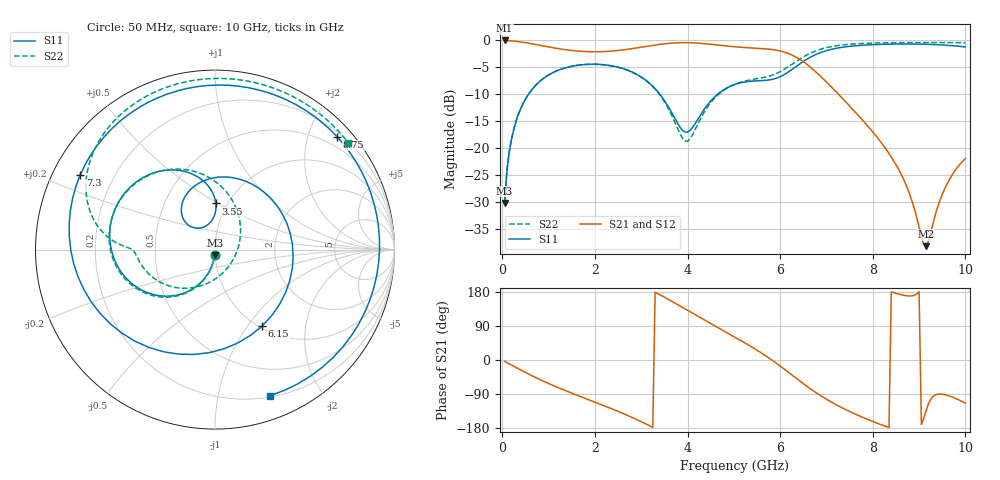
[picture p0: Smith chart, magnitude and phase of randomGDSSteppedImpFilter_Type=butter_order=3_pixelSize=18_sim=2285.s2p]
! freq	dB(S11)	phase(S11)	dB(S12)	phase(S12)
!  dB(S21)	phase(S21)	dB(S22)	phase(S22)
!S-par simulation data
#  GHz  S  DB  R 50
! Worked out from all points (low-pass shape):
!   200 points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, 50 MHz to 10 GHz, reference 50 ohm
!   highest |S21| = -0.01 dB at 50 MHz (marker M1); lowest = -38.2 dB at 9.15 GHz (marker M2)
!   |S21| within 3 dB of the highest: start of sweep to 6.322 GHz
!   lowest |S11| = -30.2 dB at 50 MHz (marker M3), VSWR 1.06, Z = 49.7 - j3.07 ohm
!   |S11| at or under -10 dB: start of sweep to 566.6 MHz; 3.403 GHz to 4.649 GHz (1.246 GHz wide, 30.9 % of centre)
!   |S22| runs from -30.2 to -0.4 dB; largest |S21 - S12| = 0
!   S11 on the Smith chart (normalised r, x): 50 MHz: 0.99, -0.06; 3.55 GHz: 0.88, +0.49; 6.15 GHz: 1.03, -1.17; 7.3 GHz: 0.08, +0.26; 8.75 GHz: 0.29, +2.53; 10 GHz: 0.21, -1.42
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0.05  -30.19 -93.6  -0.01 -3.4  -0.01 -3.4  -30.19 -93.5
0.2  -18.29 -104.1  -0.09 -13.5  -0.09 -13.5  -18.29 -103.8
0.5  -10.91 -123.8  -0.42 -32.8  -0.42 -32.8  -10.91 -123.0
1.05  -6.17 -155.9  -1.29 -64.6  -1.29 -64.6  -6.17 -154.3
1.75  -4.50 169.1  -2.05 -99.4  -2.05 -99.4  -4.50 171.4
2.7  -5.50 124.1  -1.66 -146.0  -1.66 -146.0  -5.52 124.0
3.4  -9.96 92.5  -0.74 172.5  -0.74 172.5  -10.13 75.3
3.55  -11.80 89.0  -0.58 162.5  -0.58 162.5  -12.12 59.9
4  -17.02 118.4  -0.42 131.0  -0.42 131.0  -18.71 -37.0
4.5  -11.26 132.8  -0.72 95.9  -0.72 95.9  -11.59 -125.2
5.05  -8.09 95.8  -1.21 58.2  -1.21 58.2  -8.05 -160.7
5.75  -7.36 12.0  -1.61 6.0  -1.61 6.0  -6.67 179.9
6.15  -6.02 -58.3  -2.34 -29.7  -2.34 -29.7  -5.02 175.5
6.4  -4.50 -101.3  -3.39 -53.2  -3.39 -53.2  -3.59 169.1
6.7  -2.91 -144.9  -5.31 -80.0  -5.31 -80.0  -2.19 157.3
7.3  -1.33 151.1  -10.37 -123.9  -10.37 -123.9  -0.89 131.2
7.8  -0.88 111.0  -15.01 -152.2  -15.01 -152.2  -0.55 111.8
8.35  -0.70 71.5  -20.99 -178.2  -20.99 -178.2  -0.42 92.4
8.75  -0.66 42.7  -27.51 169.2  -27.51 169.2  -0.39 79.0
9.15  -0.71 12.0  -38.22 -134.4  -38.22 -134.4  -0.38 66.0
9.6  -0.90 -27.5  -26.72 -92.8  -26.72 -92.8  -0.40 51.5
10  -1.21 -69.4  -21.93 -113.8  -21.93 -113.8  -0.43 38.8
